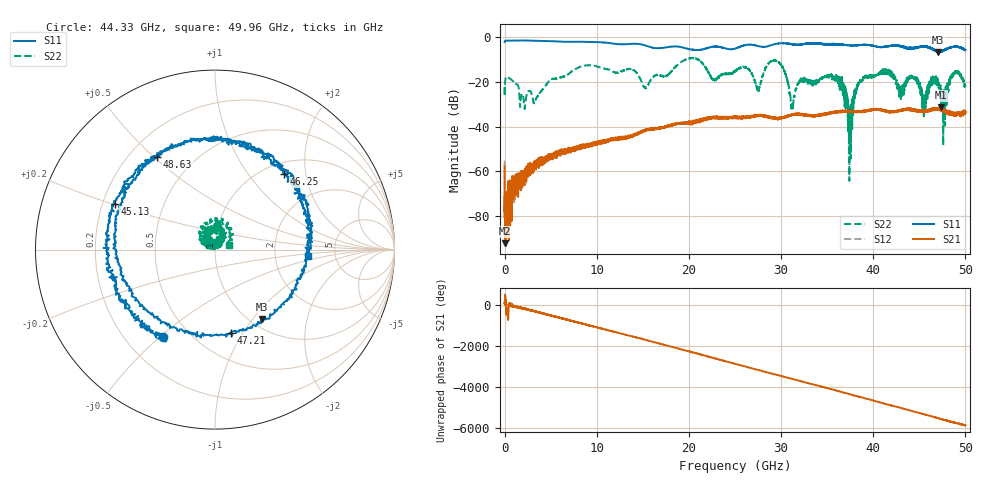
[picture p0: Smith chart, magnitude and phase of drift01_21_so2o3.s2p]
!Created with skrf (http://scikit-rf.org).
# Hz S RI R 50.0
!freq ReS11 ImS11 ReS21 ImS21 ReS12 ImS12 ReS22 ImS22
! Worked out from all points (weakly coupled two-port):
!   10001 points, 300 kHz to 50 GHz, reference 50 ohm
!   highest |S21| = -31.44 dB at 47.35 GHz (marker M1); lowest = -92.5 dB at 80.3 MHz (marker M2)
!   lowest |S11| = -6.6 dB at 47.05 GHz (marker M3), VSWR 2.74, Z = 56.1 - j55.4 ohm
!   |S11| at or under -10 dB: nowhere
!   |S22| runs from -64.3 to -9.2 dB; largest |S21 - S12| = 0.0043
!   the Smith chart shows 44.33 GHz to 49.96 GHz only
!   S11 on the Smith chart (normalised r, x): 44.33 GHz: 0.36, -0.51; 45.13 GHz: 0.25, +0.20; 46.25 GHz: 1.21, +1.51; 47.21 GHz: 0.74, -0.89; 48.63 GHz: 0.31, +0.51; 49.96 GHz: 3.12, -0.31
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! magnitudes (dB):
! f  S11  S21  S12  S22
! 300 kHz  -2.1  -57.9  -55.3  -22.3
! 80.3 MHz  -1.5  -92.5  -73.1  -18.9
! 3.285 GHz  -1.5  -58.8  -56.8  -28.9
! 8.335 GHz  -1.9  -49.0  -49.1  -12.9
! 16.67 GHz  -4.8  -40.8  -40.8  -16.7
! 25 GHz  -5.0  -35.7  -35.6  -15.3
! 29.58 GHz  -2.8  -36.4  -36.3  -10.6
! 31.23 GHz  -3.1  -34.8  -34.6  -31.4
! 33.34 GHz  -2.6  -35.3  -35.0  -20.3
! 36.07 GHz  -3.0  -33.4  -33.5  -19.0
! 37.47 GHz  -3.6  -33.0  -33.0  -34.3
! 38.63 GHz  -3.4  -33.1  -33.2  -19.7
! 41.67 GHz  -3.9  -33.5  -33.2  -15.5
! 44.33 GHz  -5.0  -32.7  -32.3  -17.5
! 45.13 GHz  -4.2  -33.0  -32.9  -24.3
! 46.25 GHz  -4.9  -32.4  -32.6  -19.6
! 47.05 GHz  -6.6  -32.4  -32.1  -22.8
! 47.21 GHz  -6.5  -32.3  -32.0  -24.7
! 47.35 GHz  -6.1  -31.4  -32.4  -23.4
! 48.63 GHz  -4.3  -34.4  -33.8  -17.5
! 49.96 GHz  -5.7  -33.7  -33.8  -21.6
! 50 GHz  -5.6  -34.0  -33.2  -21.8
